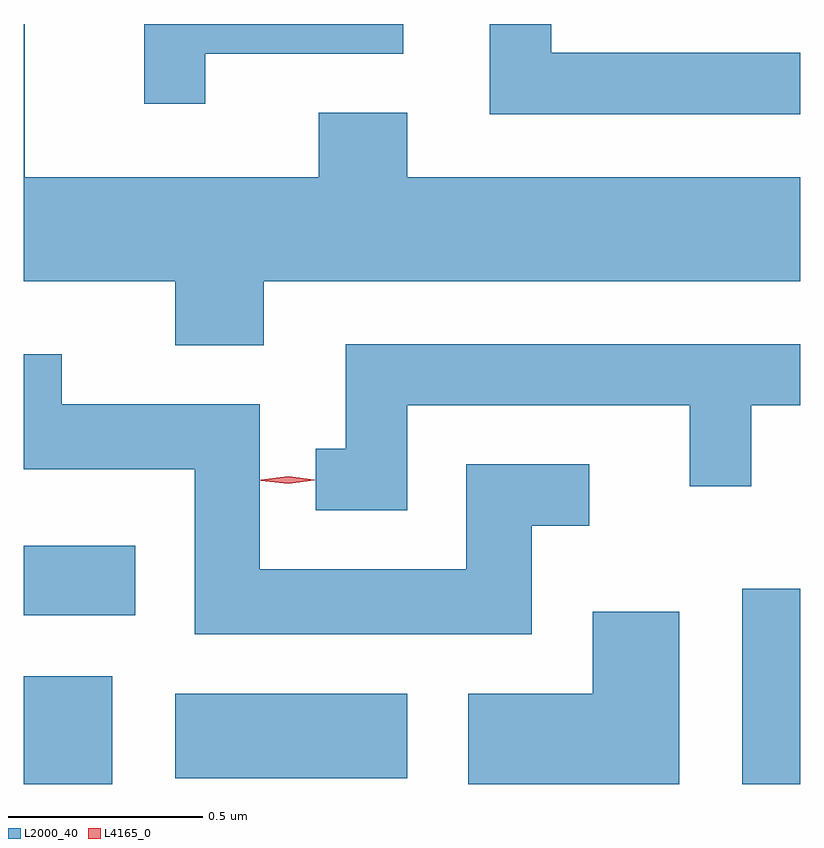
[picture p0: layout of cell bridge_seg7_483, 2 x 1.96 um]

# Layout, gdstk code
import gdstk
lib = gdstk.Library(unit=1e-6, precision=1e-09)
def R(c, l, rs):  # rectangles x0, y0, x1, y1
    for r in rs: c.add(gdstk.rectangle(r[:2], r[2:], *l))
def P(c, l, *ps):  # polygons
    for p in ps: c.add(gdstk.Polygon(p, *l))
L2000_40 = (2000, 40)
L4165_0 = (4165, 0)

bridge_seg7_483 = lib.new_cell('bridge_seg7_483')
R(bridge_seg7_483, L2000_40, [(1083.621,1704.141,1083.849,1704.419), (1085.471,1704.141,1085.621,1704.644), (1084.011,1704.156,1084.609,1704.374), (1083.621,1704.576,1083.909,1704.754)])
P(bridge_seg7_483, L2000_40, [(1084.239,1705.436),(1085.621,1705.436),(1085.621,1705.704),(1084.609,1705.704),(1084.609,1705.869),(1084.381,1705.869),(1084.381,1705.704),(1083.624,1705.704),(1083.624,1706.098),(1083.621,1706.098),(1083.621,1705.436),(1084.011,1705.436),(1084.011,1705.271),(1084.239,1705.271)],
  [(1084.089,1706.021),(1084.599,1706.021),(1084.599,1706.098),(1083.931,1706.098),(1083.931,1705.893),(1084.089,1705.893)],
  [(1085.621,1706.024),(1084.979,1706.024),(1084.979,1706.098),(1084.821,1706.098),(1084.821,1705.866),(1085.621,1705.866)],
  [(1084.609,1705.116),(1085.336,1705.116),(1085.336,1704.908),(1085.494,1704.908),(1085.494,1705.116),(1085.621,1705.116),(1085.621,1705.274),(1084.451,1705.274),(1084.451,1705.004),(1084.373,1705.004),(1084.373,1704.846),(1084.609,1704.846)],
  [(1084.929,1704.806),(1085.078,1704.806),(1085.078,1704.964),(1084.761,1704.964),(1084.761,1704.694),(1084.229,1704.694),(1084.229,1705.119),(1083.719,1705.119),(1083.719,1705.248),(1083.621,1705.248),(1083.621,1704.951),(1084.061,1704.951),(1084.061,1704.526),(1084.929,1704.526)],
  [(1085.309,1704.584),(1085.086,1704.584),(1085.086,1704.374),(1084.766,1704.374),(1084.766,1704.141),(1085.309,1704.141)])
P(bridge_seg7_483, L4165_0, [(1084.302,1704.914),(1084.232,1704.922),(1084.232,1704.923),(1084.232,1704.924),(1084.302,1704.933),(1084.371,1704.924),(1084.371,1704.924),(1084.371,1704.923)])

lib.write_gds('bridge_seg7_483.gds')
